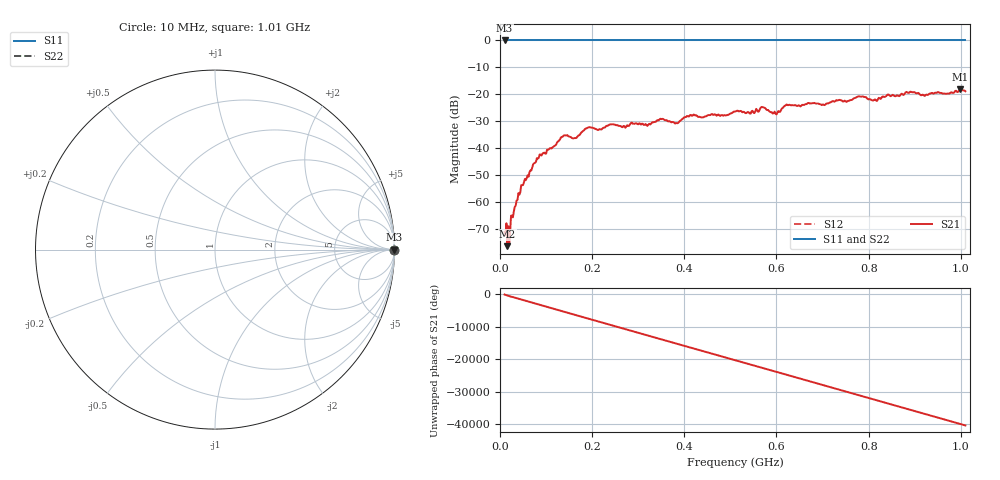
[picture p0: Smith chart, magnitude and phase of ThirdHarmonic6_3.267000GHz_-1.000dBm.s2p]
! 8/17/2025 10:05:56 AM
! C:\ANRITSUVNA\TEMP\TEMP.S2P
! CHANNEL.1
! TR.MEASUREMENT
! RAW.DATA
! RF.CORRECTION.OFF
! AVERAGING.OFF
! IF.BANDWIDTH: 5KHZ
! SWEEPTYPE:  FREQ.SWEEP(Linear)
! Reference Plane Port Info
! PORT:  PORT1  PORT2
! DISTANCE:  0  m  0  m
! TIME:  0  s  0  s
! PHASE.OFFSET:  0  deg.  0  deg.
! LOSS:  0  dB  0  dB
! REF.LOSS:  0  dB  0  dB
! REF.FREQ:  0  Hz  0  Hz
! Power Info
! POWER:  -20  dBm  -20  dBm
! EFF.POWER:  -20  dBm  -20  dBm
! SOURCE.ATTEN:  0  dB  0  dB
! TEST.ATTEN:  0  dB  0  dB
# GHZ S RI R 50.0
! FREQ.GHZ  S11RE  S11IM  S21RE  S21IM  S12RE  S12IM  S22RE  S22IM
!; PortSelection: Port_12
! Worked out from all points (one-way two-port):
!   501 points, 10 MHz to 1.01 GHz, reference 50 ohm
!   highest |S21| = -18.06 dB at 998 MHz (marker M1); lowest = -76.2 dB at 16 MHz (marker M2)
!   lowest |S11| = 0.0 dB at 10 MHz (marker M3)
!   |S11| at or under -10 dB: nowhere
!   |S22| runs from 0.0 to 0.0 dB; largest |S21 - S12| = 1.1
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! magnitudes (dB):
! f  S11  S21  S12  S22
! 10 MHz  0.0  -71.0  0.0  0.0
! 16 MHz  0.0  -76.2  0.0  0.0
! 20 MHz  0.0  -75.9  0.0  0.0
! 28 MHz  0.0  -65.5  0.0  0.0
! 44 MHz  0.0  -56.3  0.0  0.0
! 84 MHz  0.0  -43.5  0.0  0.0
! 136 MHz  0.0  -35.7  0.0  0.0
! 162 MHz  0.0  -36.2  0.0  0.0
! 178 MHz  0.0  -33.9  0.0  0.0
! 344 MHz  0.0  -29.6  0.0  0.0
! 384 MHz  0.0  -30.6  0.0  0.0
! 416 MHz  0.0  -27.9  0.0  0.0
! 510 MHz  0.0  -26.3  0.0  0.0
! 570 MHz  0.0  -24.7  0.0  0.0
! 596 MHz  0.0  -26.4  0.0  0.0
! 622 MHz  0.0  -23.7  0.0  0.0
! 678 MHz  0.0  -23.3  0.0  0.0
! 780 MHz  0.0  -20.7  0.0  0.0
! 814 MHz  0.0  -21.8  0.0  0.0
! 844 MHz  0.0  -20.1  0.0  0.0
! 998 MHz  0.0  -18.1  0.0  0.0
! 1.01 GHz  0.0  -18.8  0.0  0.0
